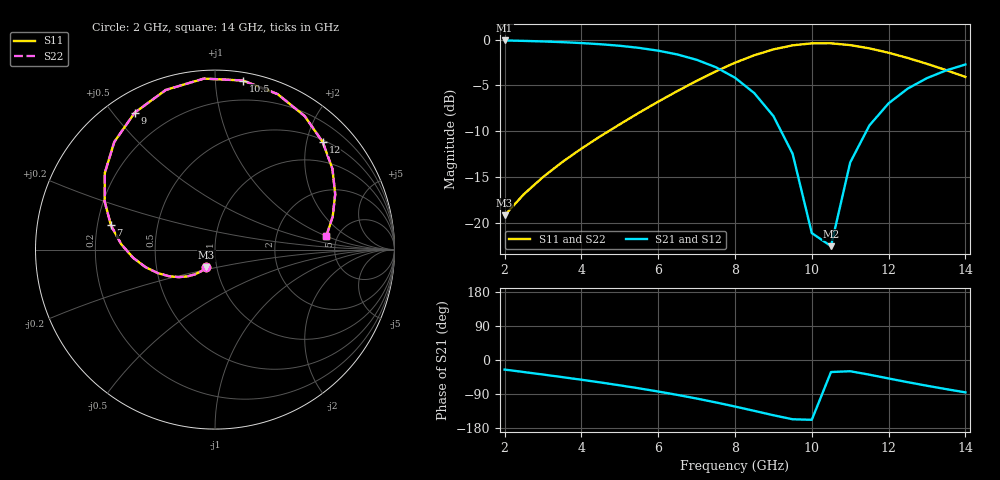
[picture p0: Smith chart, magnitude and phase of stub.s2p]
# Hz S RI R 50
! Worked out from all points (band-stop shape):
!   25 points, 2 GHz to 14 GHz, reference 50 ohm
!   highest |S21| = -0.09 dB at 2 GHz (marker M1); lowest = -22.6 dB at 10.5 GHz (marker M2)
!   |S21| within 3 dB of the highest: start of sweep to 7.534 GHz; 13.71 GHz to end of sweep
!   lowest |S11| = -19.2 dB at 2 GHz (marker M3), VSWR 1.25, Z = 44.6 - j8.9 ohm
!   |S11| at or under -10 dB: start of sweep to 4.71 GHz
!   |S22| runs from -19.2 to -0.4 dB; largest |S21 - S12| = 0
!   S11 on the Smith chart (normalised r, x): 2 GHz: 0.89, -0.18; 7 GHz: 0.26, +0.11; 9 GHz: 0.08, +0.57; 10.5 GHz: 0.06, +1.18; 12 GHz: 0.54, +2.31; 14 GHz: 4.06, +1.03
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2e9  -0.0481 -0.0986  0.8951 -0.4228  0.8951 -0.4228  -0.0481 -0.0986
3e9  -0.1118 -0.1379  0.7667 -0.6067  0.7667 -0.6067  -0.1118 -0.1379
4e9  -0.2023 -0.1534  0.5888 -0.7558  0.5888 -0.7558  -0.2023 -0.1534
5e9  -0.3189 -0.1307  0.3643 -0.8512  0.3643 -0.8512  -0.3189 -0.1307
5.5e9  -0.3864 -0.0983  0.2371 -0.8701  0.2371 -0.8701  -0.3864 -0.0983
6e9  -0.4559 -0.046  0.1037 -0.8644  0.1037 -0.8644  -0.4559 -0.046
6.5e9  -0.5229 0.0306  -0.0307 -0.8292  -0.0307 -0.8292  -0.5229 0.0306
7e9  -0.5797 0.135  -0.1571 -0.7603  -0.1571 -0.7603  -0.5797 0.135
7.5e9  -0.6149 0.2684  -0.2636 -0.6563  -0.2636 -0.6563  -0.6149 0.2684
8e9  -0.6137 0.4274  -0.3352 -0.521  -0.3352 -0.521  -0.6137 0.4274
8.5e9  -0.5611 0.5999  -0.3561 -0.3665  -0.3561 -0.3665  -0.5611 0.5999
9e9  -0.4468 0.7636  -0.3162 -0.215  -0.3162 -0.215  -0.4468 0.7636
9.5e9  -0.2737 0.8897  -0.2181 -0.0954  -0.2181 -0.0954  -0.2737 0.8897
1e10  -0.0619 0.9527  -0.0812 -0.0332  -0.0812 -0.0332  -0.0619 0.9527
1.05e10  0.156 0.9421  0.0633 -0.0391  0.0633 -0.0391  0.156 0.9421
1.1e10  0.3491 0.8661  0.1854 -0.1054  0.1854 -0.1054  0.3491 0.8661
1.15e10  0.4997 0.744  0.2651 -0.2125  0.2651 -0.2125  0.4997 0.744
1.2e10  0.6004 0.5988  0.296 -0.3374  0.296 -0.3374  0.6004 0.5988
1.25e10  0.6543 0.4496  0.2819 -0.4612  0.2819 -0.4612  0.6543 0.4496
1.3e10  0.6697 0.3091  0.2315 -0.5714  0.2315 -0.5714  0.6697 0.3091
1.35e10  0.6558 0.184  0.1544 -0.6616  0.1544 -0.6616  0.6558 0.184
1.4e10  0.6208 0.0773  0.0592 -0.7289  0.0592 -0.7289  0.6208 0.0773
